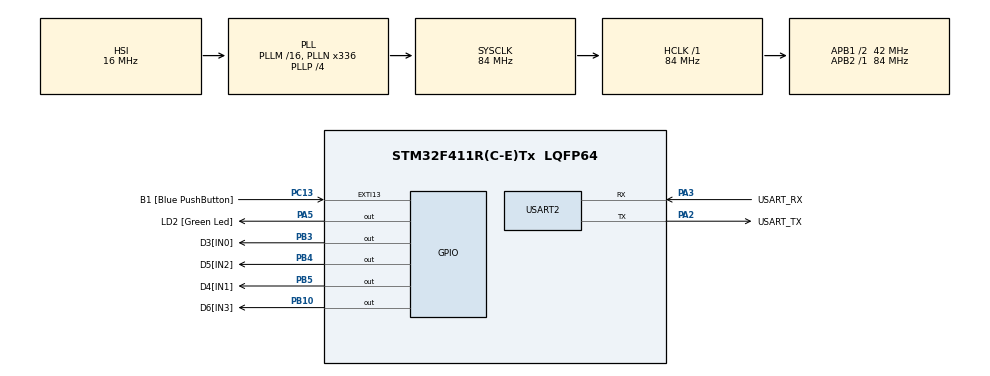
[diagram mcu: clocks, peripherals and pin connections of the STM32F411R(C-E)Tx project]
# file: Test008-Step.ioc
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Mcu.Family=STM32F4
Mcu.Name=STM32F411R(C-E)Tx
Mcu.Package=LQFP64
NVIC.PriorityGroup=NVIC_PRIORITYGROUP_0
PA13.GPIO_Label=TMS
PA13.Mode=Serial_Wire
PA13.Signal=SYS_JTMS-SWDIO
PA14.GPIO_Label=TCK
PA14.Mode=Serial_Wire
PA14.Signal=SYS_JTCK-SWCLK
PA2.GPIO_Label=USART_TX
PA2.Mode=Asynchronous
PA2.Signal=USART2_TX
PA3.GPIO_Label=USART_RX
PA3.Mode=Asynchronous
PA3.Signal=USART2_RX
PA5.GPIO_Label=LD2 [Green Led]
PA5.Signal=GPIO_Output
PB10.GPIO_Label=D6[IN3]
PB10.Signal=GPIO_Output
PB3.GPIO_Label=D3[IN0]
PB3.Signal=GPIO_Output
PB4.GPIO_Label=D5[IN2]
PB4.Signal=GPIO_Output
PB5.GPIO_Label=D4[IN1]
PB5.Signal=GPIO_Output
PC13-ANTI_TAMP.GPIO_Label=B1 [Blue PushButton]
PC13-ANTI_TAMP.GPIO_ModeDefaultEXTI=GPIO_MODE_IT_FALLING
PC13-ANTI_TAMP.Signal=GPXTI13
PC14-OSC32_IN.Mode=LSE-External-Oscillator
PC14-OSC32_IN.Signal=RCC_OSC32_IN
PC15-OSC32_OUT.Mode=LSE-External-Oscillator
PC15-OSC32_OUT.Signal=RCC_OSC32_OUT
PH0\ -\ OSC_IN.Mode=HSE-External-Clock-Source
PH0\ -\ OSC_IN.Signal=RCC_OSC_IN
PH1\ -\ OSC_OUT.Mode=HSE-External-Clock-Source
PH1\ -\ OSC_OUT.Signal=RCC_OSC_OUT
ProjectManager.HeapSize=0x200
ProjectManager.StackSize=0x400
ProjectManager.TargetToolchain=STM32CubeIDE
RCC.48MHZClocksFreq_Value=84000000
RCC.AHBFreq_Value=84000000
RCC.APB1CLKDivider=RCC_HCLK_DIV2
RCC.APB1Freq_Value=42000000
RCC.APB1TimFreq_Value=84000000
RCC.APB2Freq_Value=84000000
RCC.APB2TimFreq_Value=84000000
RCC.CortexFreq_Value=84000000
RCC.FLatency-AdvancedSettings=FLASH_LATENCY_2
RCC.HCLKFreq_Value=84000000
RCC.HSE_VALUE=8000000
RCC.HSI_VALUE=16000000
RCC.PLLN=336
RCC.PLLP=RCC_PLLP_DIV4
RCC.SYSCLKFreq_VALUE=84000000
RCC.SYSCLKSource=RCC_SYSCLKSOURCE_PLLCLK
RCC.VCOOutputFreq_Value=336000000
USART2.VirtualMode=VM_ASYNC
board=NUCLEO-F411RE

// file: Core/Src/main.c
/* USER CODE BEGIN Header */
/**
  ******************************************************************************
  * @file           : main.c
  * @brief          : Main program body
  ******************************************************************************
  * @attention
  *
  * Copyright (c) 2025 STMicroelectronics.
  * All rights reserved.
  *
  * This software is licensed under terms that can be found in the LICENSE file
  * in the root directory of this software component.
  * If no LICENSE file comes with this software, it is provided AS-IS.
  *
  ******************************************************************************
  */
/* USER CODE END Header */
#include "main.h"

UART_HandleTypeDef huart2;

void SystemClock_Config(void);
static void MX_GPIO_Init(void);
static void MX_USART2_UART_Init(void);

/* USER CODE BEGIN 0 */
void step_wave(int step)
{
	// step 1
	switch(step)
	{
			case 1:    //step 1
		    HAL_GPIO_WritePin(D3_GPIO_Port, D3_Pin, 1);
		    HAL_GPIO_WritePin(D4_GPIO_Port, D4_Pin, 0);
			HAL_GPIO_WritePin(D5_GPIO_Port, D5_Pin, 0);
		    HAL_GPIO_WritePin(D6_GPIO_Port, D6_Pin, 0);
		    break;

		    case 2:  	  // step 2
		    HAL_GPIO_WritePin(D3_GPIO_Port, D3_Pin, 1);
		    HAL_GPIO_WritePin(D4_GPIO_Port, D4_Pin, 1);
		    HAL_GPIO_WritePin(D5_GPIO_Port, D5_Pin, 0);
		    HAL_GPIO_WritePin(D6_GPIO_Port, D6_Pin, 0);

		    case 3:// step 3
		    HAL_GPIO_WritePin(D3_GPIO_Port, D3_Pin, 0);
		    HAL_GPIO_WritePin(D4_GPIO_Port, D4_Pin, 1);
		    HAL_GPIO_WritePin(D5_GPIO_Port, D5_Pin, 0);
		    HAL_GPIO_WritePin(D6_GPIO_Port, D6_Pin, 0);
		    break;

		    case 4:	  // step 4
		    HAL_GPIO_WritePin(D3_GPIO_Port, D3_Pin, 0);
		    HAL_GPIO_WritePin(D4_GPIO_Port, D4_Pin, 1);
		    HAL_GPIO_WritePin(D5_GPIO_Port, D5_Pin, 1);
		    HAL_GPIO_WritePin(D6_GPIO_Port, D6_Pin, 0);
		    break;

			case 5:    //step 1
		    HAL_GPIO_WritePin(D3_GPIO_Port, D3_Pin, 0);
		    HAL_GPIO_WritePin(D4_GPIO_Port, D4_Pin, 0);
			HAL_GPIO_WritePin(D5_GPIO_Port, D5_Pin, 1);
		    HAL_GPIO_WritePin(D6_GPIO_Port, D6_Pin, 0);
		    break;

		    case 6:  	  // step 2
		    HAL_GPIO_WritePin(D3_GPIO_Port, D3_Pin, 0);
		    HAL_GPIO_WritePin(D4_GPIO_Port, D4_Pin, 0);
		    HAL_GPIO_WritePin(D5_GPIO_Port, D5_Pin, 1);
		    HAL_GPIO_WritePin(D6_GPIO_Port, D6_Pin, 1);

		    case 7:// step 3
		    HAL_GPIO_WritePin(D3_GPIO_Port, D3_Pin, 0);
		    HAL_GPIO_WritePin(D4_GPIO_Port, D4_Pin, 0);
		    HAL_GPIO_WritePin(D5_GPIO_Port, D5_Pin, 0);
		    HAL_GPIO_WritePin(D6_GPIO_Port, D6_Pin, 1);
		    break;

		    case 8:	  // step 4
		    HAL_GPIO_WritePin(D3_GPIO_Port, D3_Pin, 1);
		    HAL_GPIO_WritePin(D4_GPIO_Port, D4_Pin, 0);
		    HAL_GPIO_WritePin(D5_GPIO_Port, D5_Pin, 0);
		    HAL_GPIO_WritePin(D6_GPIO_Port, D6_Pin, 1);
		    break;
	}
}
/* USER CODE END 0 */

int main(void)
{

  /* MCU Configuration--------------------------------------------------------*/

  /* Reset of all peripherals, Initializes the Flash interface and the Systick. */
  HAL_Init();

  /* Configure the system clock */
  SystemClock_Config();

  /* Initialize all configured peripherals */
  MX_GPIO_Init();
  MX_USART2_UART_Init();
  /* USER CODE BEGIN 2 */
  ProgramStart("Step motor Control");

  /* USER CODE END 2 */

  /* Infinite loop */
  /* USER CODE BEGIN WHILE */
  while (1)
  {

	  for(int i = 0; i < 4096 ; i++)
	    	  {
		  	  	  step_wave((i % 4) + 1);
		  	  	  HAL_Delay(1);

	    	  }

    /* USER CODE END WHILE */

  }
}

void SystemClock_Config(void)
{
  RCC_OscInitTypeDef RCC_OscInitStruct = {0};
  RCC_ClkInitTypeDef RCC_ClkInitStruct = {0};

  /** Configure the main internal regulator output voltage
  */
  __HAL_RCC_PWR_CLK_ENABLE();
  __HAL_PWR_VOLTAGESCALING_CONFIG(PWR_REGULATOR_VOLTAGE_SCALE1);

  /** Initializes the RCC Oscillators according to the specified parameters
  * in the RCC_OscInitTypeDef structure.
  */
  RCC_OscInitStruct.OscillatorType = RCC_OSCILLATORTYPE_HSI;
  RCC_OscInitStruct.HSIState = RCC_HSI_ON;
  RCC_OscInitStruct.HSICalibrationValue = RCC_HSICALIBRATION_DEFAULT;
  RCC_OscInitStruct.PLL.PLLState = RCC_PLL_ON;
  RCC_OscInitStruct.PLL.PLLSource = RCC_PLLSOURCE_HSI;
  RCC_OscInitStruct.PLL.PLLM = 16;
  RCC_OscInitStruct.PLL.PLLN = 336;
  RCC_OscInitStruct.PLL.PLLP = RCC_PLLP_DIV4;
  RCC_OscInitStruct.PLL.PLLQ = 4;
  if (HAL_RCC_OscConfig(&RCC_OscInitStruct) != HAL_OK)
  {
    Error_Handler();
  }

  /** Initializes the CPU, AHB and APB buses clocks
  */
  RCC_ClkInitStruct.ClockType = RCC_CLOCKTYPE_HCLK|RCC_CLOCKTYPE_SYSCLK
                              |RCC_CLOCKTYPE_PCLK1|RCC_CLOCKTYPE_PCLK2;
  RCC_ClkInitStruct.SYSCLKSource = RCC_SYSCLKSOURCE_PLLCLK;
  RCC_ClkInitStruct.AHBCLKDivider = RCC_SYSCLK_DIV1;
  RCC_ClkInitStruct.APB1CLKDivider = RCC_HCLK_DIV2;
  RCC_ClkInitStruct.APB2CLKDivider = RCC_HCLK_DIV1;

  if (HAL_RCC_ClockConfig(&RCC_ClkInitStruct, FLASH_LATENCY_2) != HAL_OK)
  {
    Error_Handler();
  }
}

static void MX_USART2_UART_Init(void)
{

  huart2.Instance = USART2;
  huart2.Init.BaudRate = 115200;
  huart2.Init.WordLength = UART_WORDLENGTH_8B;
  huart2.Init.StopBits = UART_STOPBITS_1;
  huart2.Init.Parity = UART_PARITY_NONE;
  huart2.Init.Mode = UART_MODE_TX_RX;
  huart2.Init.HwFlowCtl = UART_HWCONTROL_NONE;
  huart2.Init.OverSampling = UART_OVERSAMPLING_16;
  if (HAL_UART_Init(&huart2) != HAL_OK)
  {
    Error_Handler();
  }

}

static void MX_GPIO_Init(void)
{
  GPIO_InitTypeDef GPIO_InitStruct = {0};

  /* GPIO Ports Clock Enable */
  __HAL_RCC_GPIOC_CLK_ENABLE();
  __HAL_RCC_GPIOH_CLK_ENABLE();
  __HAL_RCC_GPIOA_CLK_ENABLE();
  __HAL_RCC_GPIOB_CLK_ENABLE();

  /*Configure GPIO pin Output Level */
  HAL_GPIO_WritePin(LD2_GPIO_Port, LD2_Pin, GPIO_PIN_RESET);

  /*Configure GPIO pin Output Level */
  HAL_GPIO_WritePin(GPIOB, D6_Pin|D3_Pin|D5_Pin|D4_Pin, GPIO_PIN_RESET);

  /*Configure GPIO pin : B1_Pin */
  GPIO_InitStruct.Pin = B1_Pin;
  GPIO_InitStruct.Mode = GPIO_MODE_IT_FALLING;
  GPIO_InitStruct.Pull = GPIO_NOPULL;
  HAL_GPIO_Init(B1_GPIO_Port, &GPIO_InitStruct);

  /*Configure GPIO pin : LD2_Pin */
  GPIO_InitStruct.Pin = LD2_Pin;
  GPIO_InitStruct.Mode = GPIO_MODE_OUTPUT_PP;
  GPIO_InitStruct.Pull = GPIO_NOPULL;
  GPIO_InitStruct.Speed = GPIO_SPEED_FREQ_LOW;
  HAL_GPIO_Init(LD2_GPIO_Port, &GPIO_InitStruct);

  /*Configure GPIO pins : D6_Pin D3_Pin D5_Pin D4_Pin */
  GPIO_InitStruct.Pin = D6_Pin|D3_Pin|D5_Pin|D4_Pin;
  GPIO_InitStruct.Mode = GPIO_MODE_OUTPUT_PP;
  GPIO_InitStruct.Pull = GPIO_NOPULL;
  GPIO_InitStruct.Speed = GPIO_SPEED_FREQ_LOW;
  HAL_GPIO_Init(GPIOB, &GPIO_InitStruct);

}

void Error_Handler(void)
{
  __disable_irq();
  while (1)
  {
  }
}
